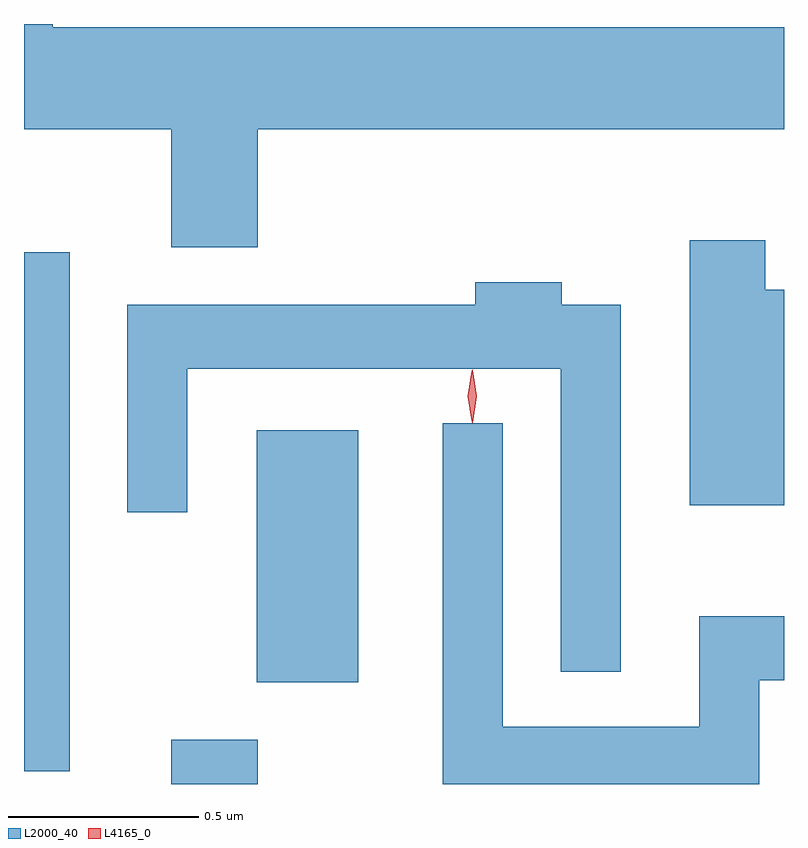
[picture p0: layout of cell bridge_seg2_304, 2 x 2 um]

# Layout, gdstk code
import gdstk
lib = gdstk.Library(unit=1e-6, precision=1e-09)
def R(c, l, rs):  # rectangles x0, y0, x1, y1
    for r in rs: c.add(gdstk.rectangle(r[:2], r[2:], *l))
def P(c, l, *ps):  # polygons
    for p in ps: c.add(gdstk.Polygon(p, *l))
L2000_40 = (2000, 40)
L4165_0 = (4165, 0)

bridge_seg2_304 = lib.new_cell('bridge_seg2_304')
R(bridge_seg2_304, L2000_40, [(544.711,1093.213,544.939,1093.329), (544.324,1093.246,544.444,1094.613), (544.936,1093.481,545.204,1094.144)])
P(bridge_seg2_304, L2000_40, [(544.939,1094.936),(546.324,1094.936),(546.324,1095.204),(544.399,1095.204),(544.399,1095.213),(544.324,1095.213),(544.324,1094.936),(544.711,1094.936),(544.711,1094.626),(544.939,1094.626)],
  [(546.324,1094.514),(546.274,1094.514),(546.274,1094.644),(546.076,1094.644),(546.076,1093.946),(546.324,1093.946)],
  [(545.894,1094.474),(545.739,1094.474),(545.739,1094.534),(545.511,1094.534),(545.511,1094.474),(544.596,1094.474),(544.596,1093.928),(544.754,1093.928),(544.754,1094.306),(545.736,1094.306),(545.736,1093.508),(545.894,1093.508)],
  [(546.259,1093.486),(546.324,1093.486),(546.324,1093.654),(546.101,1093.654),(546.101,1093.364),(545.584,1093.364),(545.584,1094.163),(545.426,1094.163),(545.426,1093.213),(546.259,1093.213)])
P(bridge_seg2_304, L4165_0, [(545.504,1094.164),(545.495,1094.234),(545.504,1094.302),(545.505,1094.303),(545.505,1094.302),(545.515,1094.234),(545.505,1094.164),(545.505,1094.164)],
  [(545.502,1094.167),(545.502,1094.168),(545.492,1094.234),(545.502,1094.3),(545.502,1094.3),(545.503,1094.3),(545.512,1094.234),(545.503,1094.168)])

lib.write_gds('bridge_seg2_304.gds')
